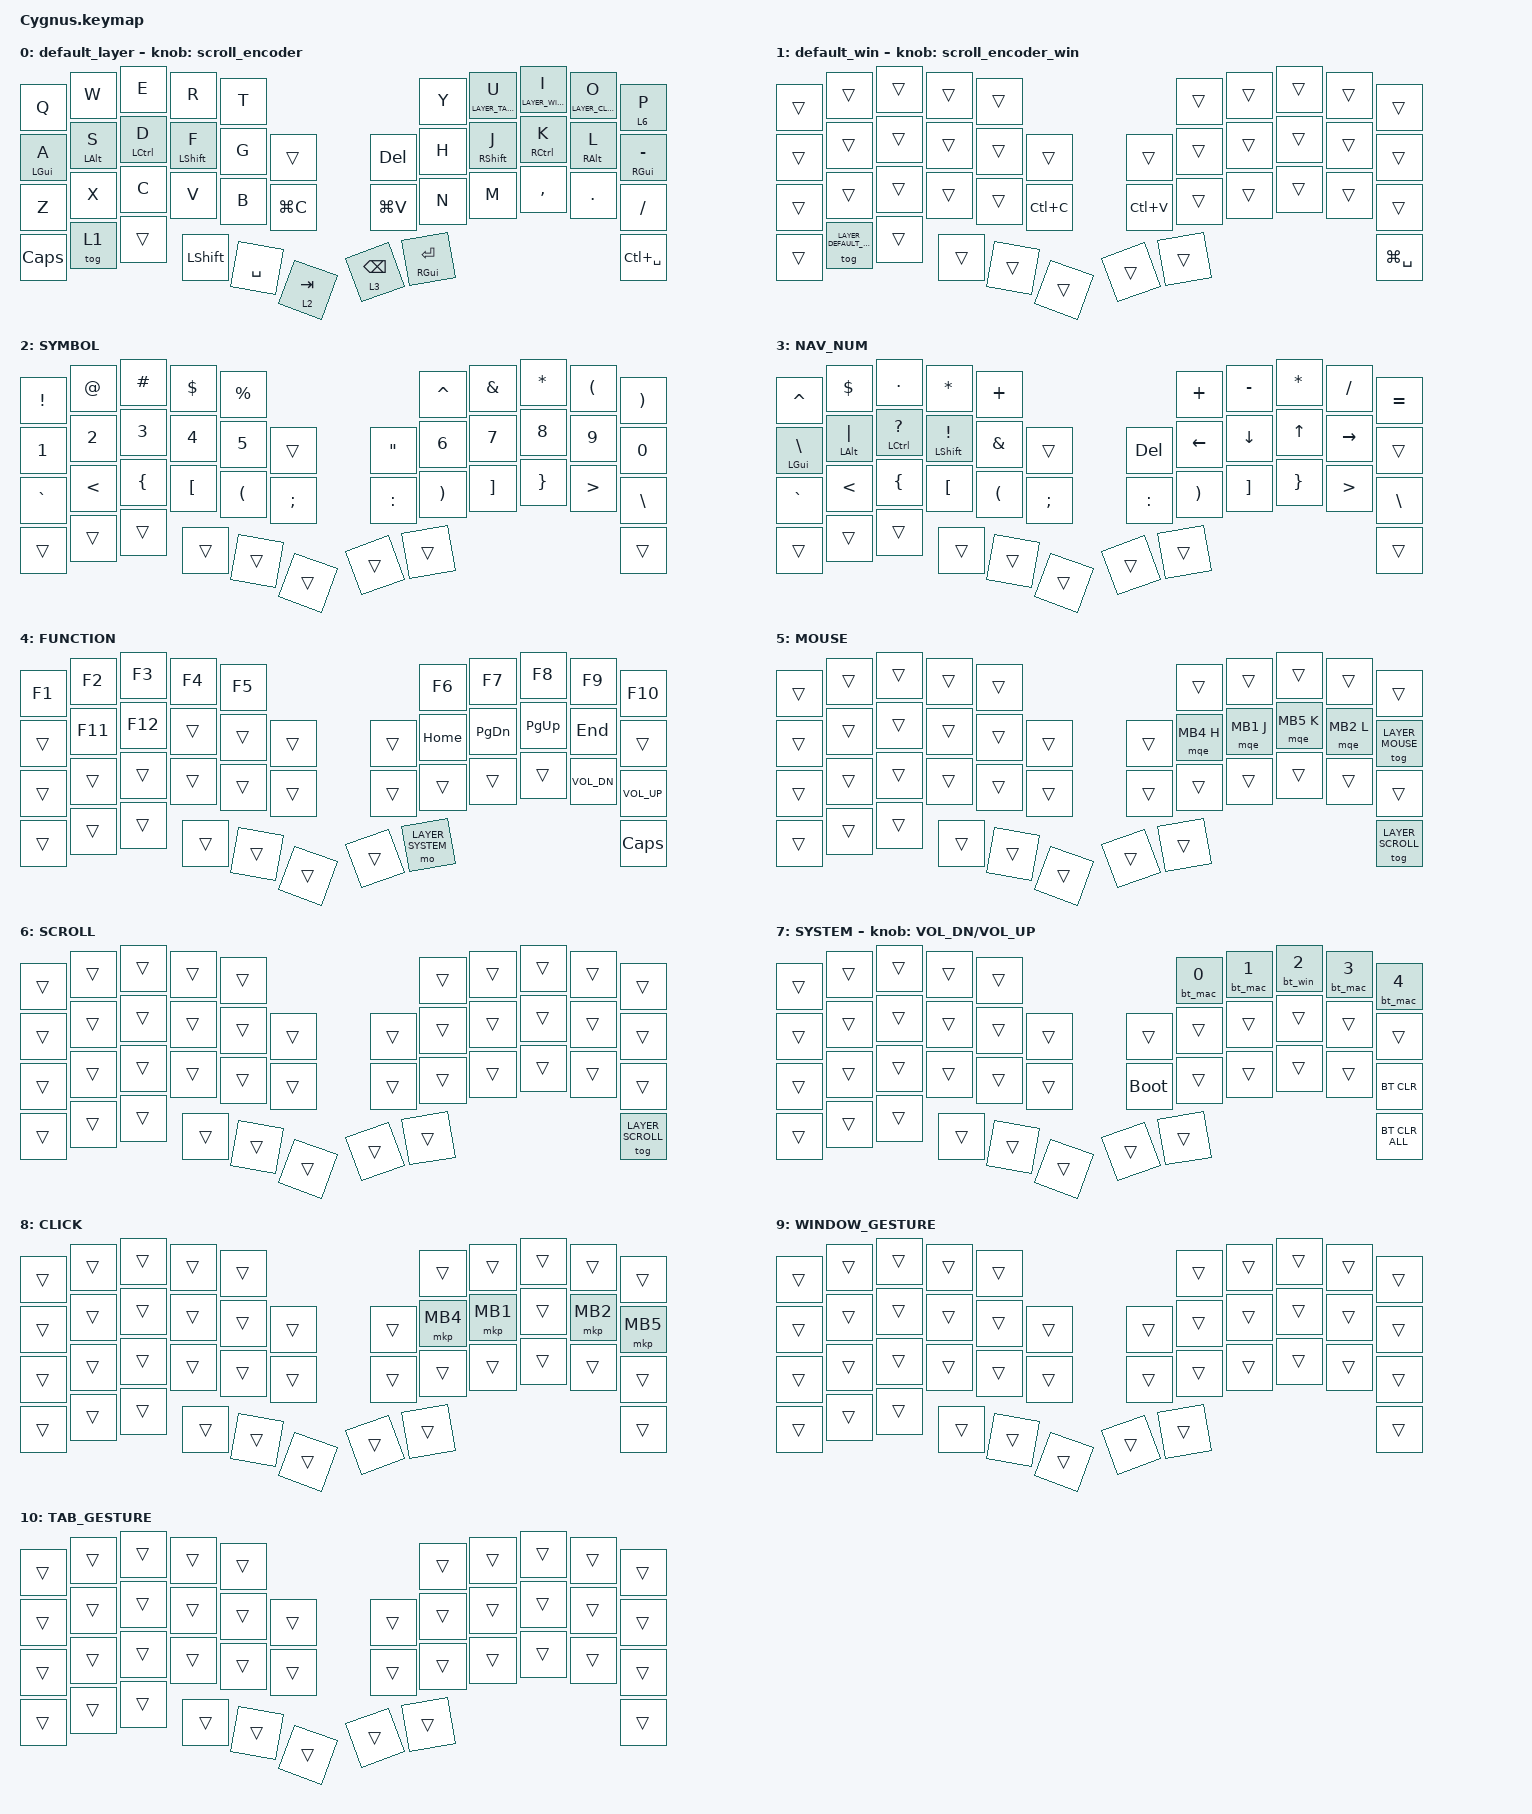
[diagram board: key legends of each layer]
/*
 * エンコーダ1ノッチあたりのホイール量。Cygnusのエンコーダは24ノッチ/回転
 * (roBaの12ノッチより細かい)ため、roBaの30では進みが遅い。販売元調整値の
 * 120を採用。行き過ぎなら60〜90へ。
 */
#define ZMK_POINTING_DEFAULT_SCRL_VAL 120

#include <behaviors.dtsi>
#include <dt-bindings/zmk/bt.h>
#include <dt-bindings/zmk/keys.h>
#include <dt-bindings/zmk/pointing.h>

#define KEYS_L 0 1 2 3 4 10 11 12 13 14 15 22 23 24 25 26 27
#define KEYS_R 5 6 7 8 9 17 18 19 20 21 29 30 31 32 33
#define THUMBS 16 28 34 35 36 37 38 39 40 41 42
#define LAYER_BASE        0
#define LAYER_DEFAULT_WIN 1
#define LAYER_SYMBOL      2
#define LAYER_NAV_NUM     3
#define LAYER_FUNCTION    4
#define LAYER_MOUSE       5
#define LAYER_SCROLL      6
#define LAYER_SYSTEM      7
#define LAYER_CLICK       8
#define LAYER_WINDOW_GESTURE 9
#define LAYER_TAB_GESTURE    10

&mt {
    flavor = "balanced";
    quick-tap-ms = <0>;
    require-prior-idle-ms = <125>;
};

&lt {
    flavor = "balanced";
    quick-tap-ms = <200>;
    require-prior-idle-ms = <0>;
};

&trackball { scroll-layers = <LAYER_SCROLL>; };

/ {
    zip_temp_layer: zip_temp_layer {
        compatible = "zmk,input-processor-temp-layer";
        #input-processor-cells = <2>;
        require-prior-idle-ms = <300>;
        excluded-positions = <17 18 19 20 21>;
    };

    /*
     * Trackball gesture engine. Two instances of one reusable processor, one
     * per gesture layer. OS is detected at runtime from LAYER_DEFAULT_WIN.
     * Per-direction arrays are ordered <windows macos>.
     */
    gesture_window: gesture_window {
        compatible = "zmk,input-processor-trackball-gesture";
        #input-processor-cells = <0>;
        layer = <LAYER_WINDOW_GESTURE>;
        windows-layer = <LAYER_DEFAULT_WIN>;
        up-keys    = <LG(TAB) LC(UP)>;     /* 全体表示: Win+Tab / Mission Control */
        down-keys  = <LG(D)   LC(DOWN)>;   /* デスクトップ表示 / App Exposé */
        left-keys  = <LS(TAB) LS(TAB)>;    /* 前のアプリ (Shift+Tab) */
        right-keys = <TAB     TAB>;        /* 次のアプリ */
        left-mods  = <LALT    LGUI>;       /* 保持修飾: Alt / Cmd */
        right-mods = <LALT    LGUI>;
    };

    gesture_tab: gesture_tab {
        compatible = "zmk,input-processor-trackball-gesture";
        #input-processor-cells = <0>;
        layer = <LAYER_TAB_GESTURE>;
        windows-layer = <LAYER_DEFAULT_WIN>;
        up-keys    = <LC(T)   LG(T)>;      /* 新規タブ */
        down-keys  = <LC(W)   LG(W)>;      /* タブを閉じる */
        left-keys  = <LS(TAB) LS(TAB)>;    /* 前のタブ (Ctrl+Shift+Tab) */
        right-keys = <TAB     TAB>;        /* 次のタブ (Ctrl+Tab) */
        left-mods  = <LCTRL   LCTRL>;      /* 保持修飾: Ctrl (両OS) */
        right-mods = <LCTRL   LCTRL>;
    };

    /*
     * 接続先(BTプロファイル)切り替えと同時にOSモード(ベースレイヤー)を
     * 決定的に設定するマクロ。tog ではなく to を使うことで状態を確定させる。
     *   &bt_mac N : プロファイルNへ切替 + Macモード   (overlay全OFF)
     *   &bt_win N : プロファイルNへ切替 + Windowsモード (LAYER_DEFAULT_WIN ON)
     * ジェスチャエンジンも LAYER_DEFAULT_WIN の状態を見るため自動で追従する。
     */
    bt_mac: bt_mac {
        compatible = "zmk,behavior-macro-one-param";
        #binding-cells = <1>;
        bindings
            = <&to LAYER_BASE>
            , <&macro_param_1to2>
            , <&bt BT_SEL MACRO_PLACEHOLDER>;
    };

    bt_win: bt_win {
        compatible = "zmk,behavior-macro-one-param";
        #binding-cells = <1>;
        bindings
            = <&to LAYER_DEFAULT_WIN>
            , <&macro_param_1to2>
            , <&bt BT_SEL MACRO_PLACEHOLDER>;
    };

    conditional_layers {
        compatible = "zmk,conditional-layers";

        tri_layer {
            if-layers = <LAYER_SYMBOL LAYER_NAV_NUM>;
            then-layer = <LAYER_FUNCTION>;
        };
    };

    combos {
        compatible = "zmk,combos";

        ToSystemLayer {
            bindings = <&mo LAYER_SYSTEM>;
            key-positions = <41 40>;
        };

        sqt_in_symbol {
            bindings = <&kp SQT>;
            key-positions = <17 18>;
            layers = <LAYER_SYMBOL>;
        };

        esc_qw {
            bindings = <&kp ESC>;
            key-positions = <0 1>;
        };

        esc_jk {
            bindings = <&kp ESC>;
            key-positions = <18 19>;
        };

        to_function {
            bindings = <&mo 4>;
            key-positions = <39 40>;
        };
    };

    behaviors {
        /*
         * Mac用(ナチュラルスクロール前提)。時計回り=上方向イベントを送る。
         * トラックボール側も CONFIG_PMW3610_INVERT_SCROLL_Y=y (roBa_R.conf)
         * で同じ向きに反転している。
         */
        scroll_encoder: scroll_encoder {
            compatible = "zmk,behavior-sensor-rotate";
            #sensor-binding-cells = <0>;
            bindings = <&msc SCRL_UP>, <&msc SCRL_DOWN>;

            tap-ms = <50>;
        };

        /*
         * Windows用。時計回り=下方向。トラックボール側は roBa_R.overlay の
         * win_scroll_invert (zip_scroll_transform) が同じ向きを維持する。
         */
        scroll_encoder_win: scroll_encoder_win {
            compatible = "zmk,behavior-sensor-rotate";
            #sensor-binding-cells = <0>;
            bindings = <&msc SCRL_DOWN>, <&msc SCRL_UP>;

            tap-ms = <50>;
        };

        td_ctrl_shift: td_ctrl_shift {
            compatible = "zmk,behavior-hold-tap";
            label = "TD_CTRL_SHIFT";
            bindings = <&kp>, <&sk>;

            #binding-cells = <2>;
            tapping-term-ms = <200>;
            flavor = "tap-preferred";
        };

        hml: home_row_mod_left {
            compatible = "zmk,behavior-hold-tap";
            label = "HOME_ROW_MOD_LEFT";
            bindings = <&kp>, <&kp>;

            #binding-cells = <2>;
            flavor = "balanced";
            tapping-term-ms = <280>;
            quick-tap-ms = <175>;
            require-prior-idle-ms = <150>;
            hold-trigger-key-positions = <KEYS_R THUMBS>;
            hold-trigger-on-release;
        };

        /*
         * param1=クリック, param2=フォールバック文字。直近 motion-grace-ms
         * 以内にポインタ活動(トラックボール移動 or クリック)が無ければ
         * クリックではなく param2 の文字を送出する。フォールバック時は
         * レイヤー状態に触れない(tog ロックを壊さず、自動レイヤーは
         * 自身のタイムアウトで消える)。motion-grace-ms = 0 でゲート無効。
         */
        mqe: mkp_quick_exit {
            compatible = "zmk,behavior-mkp-quick-exit";
            #binding-cells = <2>;
            layer = <LAYER_MOUSE>;
            timeout-ms = <500>;
            motion-grace-ms = <1200>;
        };

        hmr: home_row_mod_right {
            compatible = "zmk,behavior-hold-tap";
            label = "HOME_ROW_MOD_RIGHT";
            bindings = <&kp>, <&kp>;

            #binding-cells = <2>;
            flavor = "balanced";
            tapping-term-ms = <280>;
            quick-tap-ms = <175>;
            require-prior-idle-ms = <150>;
            hold-trigger-key-positions = <KEYS_L THUMBS>;
            hold-trigger-on-release;
        };
    };

    keymap {
        compatible = "zmk,keymap";

        default_layer {
            bindings = <
&kp Q         &kp W        &kp E         &kp R           &kp T                                      &kp Y                &lt LAYER_TAB_GESTURE U  &lt LAYER_WINDOW_GESTURE I  &lt LAYER_CLICK O  &lt 6 P
&hml LGUI A   &hml LALT S  &hml LCTRL D  &hml LSHIFT F   &kp G      &trans         &kp DELETE       &kp H                &hmr RSHIFT J  &hmr RCTRL K  &hmr RALT L  &hmr RGUI MINUS
&kp Z         &kp X        &kp C         &kp V           &kp B      &kp LG(C)      &kp LG(V)        &kp N                &kp M          &kp COMMA     &kp DOT      &kp SLASH
&kp CAPSLOCK  &tog 1       &trans        &kp LEFT_SHIFT  &kp SPACE  &lt 2 TAB      &lt 3 BACKSPACE  &mt RIGHT_GUI ENTER                                            &kp LC(SPACE)
            >;

            sensor-bindings = <&scroll_encoder>;
        };

        default_win {
            bindings = <
&trans  &trans                  &trans  &trans  &trans                            &trans  &trans  &trans  &trans  &trans
&trans  &trans                  &trans  &trans  &trans  &trans         &trans     &trans  &trans  &trans  &trans  &trans
&trans  &trans                  &trans  &trans  &trans  &kp LC(C)      &kp LC(V)  &trans  &trans  &trans  &trans  &trans
&trans  &tog LAYER_DEFAULT_WIN  &trans  &trans  &trans  &trans         &trans     &trans                          &kp LG(SPACE)
            >;

            sensor-bindings = <&scroll_encoder_win>;
        };

        SYMBOL {
            bindings = <
&kp EXCL      &kp AT         &kp HASH        &kp DLLR          &kp PRCNT                                      &kp CARET              &kp AMPS           &kp ASTRK        &kp LPAR          &kp RPAR
&kp NUMBER_1  &kp NUMBER_2   &kp NUMBER_3    &kp NUMBER_4      &kp NUMBER_5          &trans        &kp DQT    &kp N6                 &kp N7             &kp N8           &kp N9            &kp N0
&kp GRAVE     &kp LESS_THAN  &kp LEFT_BRACE  &kp LEFT_BRACKET  &kp LEFT_PARENTHESIS  &kp SEMI      &kp COLON  &kp RIGHT_PARENTHESIS  &kp RIGHT_BRACKET  &kp RIGHT_BRACE  &kp GREATER_THAN  &kp BACKSLASH
&trans        &trans         &trans          &trans            &trans                &trans        &trans     &trans                                                                       &trans
            >;
        };

        /*
         * 左手ホームロウに hml を載せ、矢印レイヤー保持中でも
         * Shift/Ctrl/Alt/GUI + 矢印 (範囲選択・単語単位の移動) を打てるように
         * する。&trans にすると記号が失われるため、タップ時は従来どおり
         * \ | ? ! を出す。hml は hold-trigger-key-positions = <KEYS_R THUMBS>
         * のため、左手だけで記号を連打しても hold には化けない。
         *
         * 最下段は SYMBOL 最下段の完全ミラー。同じ物理キー = 同じ記号で、
         * どちらの親指(レイヤー)でも入力できる。開き括弧は右親指(本レイヤー)
         * + 左手、閉じ括弧は左親指(SYMBOL) + 右手が交差ホールドで快適。
         * 旧配置の HOME/PG_DN/PG_UP/END は FUNCTION の矢印位置へ移動。
         */
        NAV_NUM {
            bindings = <
&kp CARET            &kp DLLR        &kp DOT              &kp ASTRK         &kp PLUS                                &kp PLUS  &kp MINUS  &kp ASTRK  &kp SLASH  &kp EQUAL
&hml LGUI BACKSLASH  &hml LALT PIPE  &hml LCTRL QUESTION  &hml LSHIFT EXCL  &kp AMPERSAND  &trans      &kp DEL  &kp LEFT  &kp DOWN   &kp UP     &kp RIGHT  &trans
&kp GRAVE            &kp LESS_THAN   &kp LEFT_BRACE       &kp LEFT_BRACKET  &kp LEFT_PARENTHESIS  &kp SEMI      &kp COLON  &kp RIGHT_PARENTHESIS  &kp RIGHT_BRACKET  &kp RIGHT_BRACE  &kp GREATER_THAN  &kp BACKSLASH
&trans               &trans          &trans               &trans            &trans         &trans      &trans   &trans                                     &trans
            >;
        };

        /* 右手ホームロウは NAV_NUM の矢印と同位置の強化版 (← = HOME 等)。 */
        FUNCTION {
            bindings = <
&kp F1  &kp F2   &kp F3   &kp F4  &kp F5                      &kp F6            &kp F7     &kp F8     &kp F9        &kp F10
&trans  &kp F11  &kp F12  &trans  &trans  &trans      &trans  &kp HOME          &kp PG_DN  &kp PG_UP  &kp END       &trans
&trans  &trans   &trans   &trans  &trans  &trans      &trans  &trans            &trans  &trans  &kp C_VOL_DN  &kp C_VOL_UP
&trans  &trans   &trans   &trans  &trans  &trans      &trans  &mo LAYER_SYSTEM                                &kp CAPSLOCK
            >;
        };

        MOUSE {
            bindings = <
&trans  &trans  &trans  &trans  &trans                      &trans    &trans    &trans            &trans    &trans
&trans  &trans  &trans  &trans  &trans  &trans      &trans  &mqe MB4 H  &mqe MB1 J  &mqe MB5 K  &mqe MB2 L  &tog LAYER_MOUSE
&trans  &trans  &trans  &trans  &trans  &trans      &trans  &trans    &trans    &trans            &trans    &trans
&trans  &trans  &trans  &trans  &trans  &trans      &trans  &trans                                          &tog LAYER_SCROLL
            >;
        };

        SCROLL {
            bindings = <
&trans  &trans  &trans  &trans  &trans                      &trans  &trans  &trans  &trans  &trans
&trans  &trans  &trans  &trans  &trans  &trans      &trans  &trans  &trans  &trans  &trans  &trans
&trans  &trans  &trans  &trans  &trans  &trans      &trans  &trans  &trans  &trans  &trans  &trans
&trans  &trans  &trans  &trans  &trans  &trans      &trans  &trans                          &tog LAYER_SCROLL
            >;
        };

        SYSTEM {
            bindings = <
&trans  &trans  &trans  &trans  &trans                           &bt_mac 0     &bt_mac 1     &bt_win 2     &bt_mac 3     &bt_mac 4
&trans  &trans  &trans  &trans  &trans  &trans      &trans       &trans        &trans        &trans        &trans        &trans
&trans  &trans  &trans  &trans  &trans  &trans      &bootloader  &trans        &trans        &trans        &trans        &bt BT_CLR
&trans  &trans  &trans  &trans  &trans  &trans      &trans       &trans                                                  &bt BT_CLR_ALL
            >;

            sensor-bindings = <&inc_dec_kp C_VOL_DN C_VOL_UP>;
        };

        CLICK {
            bindings = <
&trans  &trans  &trans  &trans  &trans                      &trans     &trans     &trans  &trans     &trans
&trans  &trans  &trans  &trans  &trans  &trans      &trans  &mkp MB4   &mkp MB1   &trans  &mkp MB2   &mkp MB5
&trans  &trans  &trans  &trans  &trans  &trans      &trans  &trans     &trans     &trans  &trans     &trans
&trans  &trans  &trans  &trans  &trans  &trans      &trans  &trans                                   &trans
            >;
        };

        WINDOW_GESTURE {
            bindings = <
&trans  &trans  &trans  &trans  &trans                      &trans  &trans  &trans  &trans  &trans
&trans  &trans  &trans  &trans  &trans  &trans      &trans  &trans  &trans  &trans  &trans  &trans
&trans  &trans  &trans  &trans  &trans  &trans      &trans  &trans  &trans  &trans  &trans  &trans
&trans  &trans  &trans  &trans  &trans  &trans      &trans  &trans                          &trans
            >;
        };

        TAB_GESTURE {
            bindings = <
&trans  &trans  &trans  &trans  &trans                      &trans  &trans  &trans  &trans  &trans
&trans  &trans  &trans  &trans  &trans  &trans      &trans  &trans  &trans  &trans  &trans  &trans
&trans  &trans  &trans  &trans  &trans  &trans      &trans  &trans  &trans  &trans  &trans  &trans
&trans  &trans  &trans  &trans  &trans  &trans      &trans  &trans                          &trans
            >;
        };
    };
};
